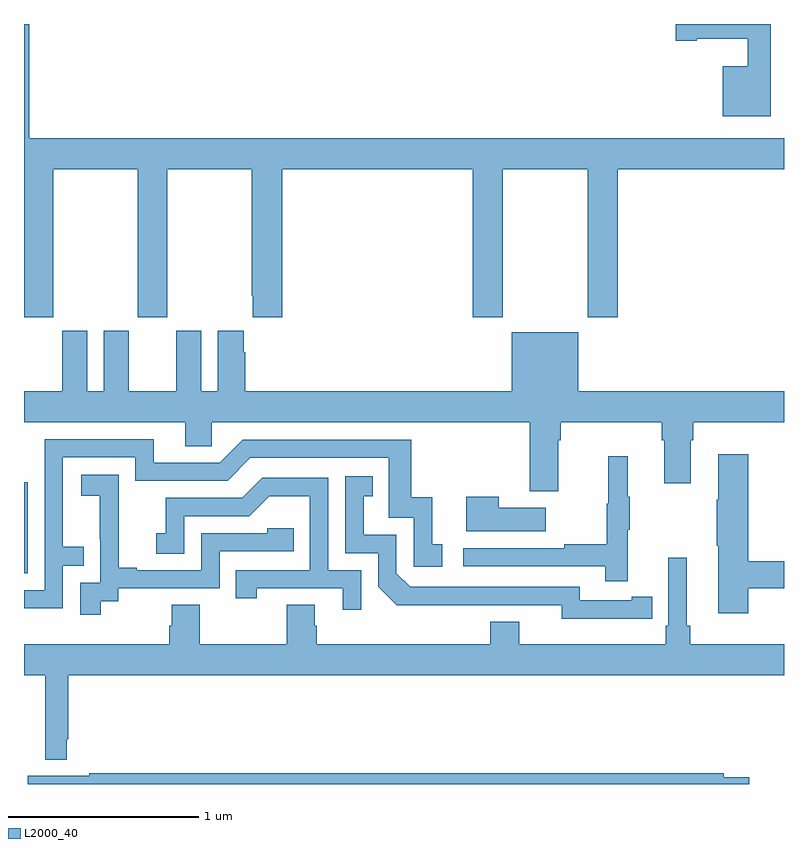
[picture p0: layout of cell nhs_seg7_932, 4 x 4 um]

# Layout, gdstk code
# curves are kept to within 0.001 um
import gdstk
lib = gdstk.Library(unit=1e-6, precision=1e-09)
def R(c, l, rs):  # rectangles x0, y0, x1, y1
    for r in rs: c.add(gdstk.rectangle(r[:2], r[2:], *l))
def P(c, l, *ps):  # polygons
    for p in ps: c.add(gdstk.Polygon(p, *l))
L2000_40 = (2000, 40)

nhs_seg7_932 = lib.new_cell('nhs_seg7_932')
R(nhs_seg7_932, L2000_40, [(179,1045.11,179.019,1045.587)])
P(nhs_seg7_932, L2000_40, [(182.929,1048),(182.43,1048),(182.43,1047.911),(182.542,1047.911),(182.542,1047.923),(182.808,1047.923),(182.808,1047.778),(182.678,1047.778),(182.678,1047.515),(182.929,1047.515)],
  [(179.154,1047.236),(179.599,1047.236),(179.599,1046.457),(179.754,1046.457),(179.754,1047.236),(180.199,1047.236),(180.199,1046.569),(180.203,1046.569),(180.203,1046.457),(180.359,1046.457),(180.359,1047.236),(181.361,1047.236),(181.361,1046.457),(181.521,1046.457),(181.521,1047.236),(181.966,1047.236),(181.966,1046.457),(182.126,1046.457),(182.126,1047.236),(183,1047.236),(183,1047.4),(179.027,1047.4),(179.027,1048),(179,1048),(179,1046.457),(179.154,1046.457)],
  [(180.157,1046.273),(180.157,1046.386),(180.02,1046.386),(180.02,1046.068),(179.932,1046.068),(179.932,1046.386),(179.801,1046.386),(179.801,1046.068),(179.551,1046.068),(179.551,1046.386),(179.42,1046.386),(179.42,1046.068),(179.332,1046.068),(179.332,1046.386),(179.201,1046.386),(179.201,1046.068),(179,1046.068),(179,1045.904),(179.849,1045.904),(179.849,1045.777),(179.988,1045.777),(179.988,1045.904),(181.661,1045.904),(181.661,1045.542),(181.813,1045.542),(181.813,1045.808),(181.826,1045.808),(181.826,1045.904),(182.357,1045.904),(182.357,1045.808),(182.369,1045.808),(182.369,1045.584),(182.509,1045.584),(182.509,1045.808),(182.522,1045.808),(182.522,1045.904),(183,1045.904),(183,1046.068),(181.918,1046.068),(181.918,1046.377),(181.568,1046.377),(181.568,1046.068),(180.164,1046.068),(180.164,1046.273)],
  [(179.205,1045.149),(179.315,1045.149),(179.315,1045.25),(179.205,1045.25),(179.205,1045.719),(179.586,1045.719),(179.586,1045.596),(180.072,1045.596),(180.192,1045.716),(180.921,1045.716),(180.921,1045.401),(181.05,1045.401),(181.05,1045.143),(181.201,1045.143),(181.201,1045.263),(181.148,1045.263),(181.148,1045.51),(181.037,1045.51),(181.037,1045.812),(180.15,1045.812),(180.03,1045.692),(179.683,1045.692),(179.683,1045.815),(179.109,1045.815),(179.109,1045.02),(179,1045.02),(179,1044.924),(179.205,1044.924)],
  [(182.813,1045.03),(183,1045.03),(183,1045.172),(182.813,1045.172),(182.813,1045.735),(182.654,1045.735),(182.654,1045.496),(182.647,1045.496),(182.647,1045.255),(182.654,1045.255),(182.654,1044.9),(182.813,1044.9)],
  [(182.177,1045.339),(182.188,1045.339),(182.188,1045.513),(182.177,1045.513),(182.177,1045.726),(182.074,1045.726),(182.074,1045.476),(182.067,1045.476),(182.067,1045.262),(181.843,1045.262),(181.843,1045.242),(181.311,1045.242),(181.311,1045.146),(182.059,1045.146),(182.059,1045.068),(182.177,1045.068)],
  [(179.404,1044.961),(179.496,1044.961),(179.496,1045.029),(180.03,1045.029),(180.03,1045.224),(180.419,1045.224),(180.419,1045.347),(180.279,1045.347),(180.279,1045.32),(179.934,1045.32),(179.934,1045.125),(179.593,1045.125),(179.593,1045.138),(179.498,1045.138),(179.498,1045.421),(179.499,1045.421),(179.499,1045.627),(179.301,1045.627),(179.301,1045.517),(179.399,1045.517),(179.399,1045.289),(179.4,1045.289),(179.4,1045.059),(179.295,1045.059),(179.295,1044.891),(179.404,1044.891)],
  [(182.198,1044.87),(182.306,1044.87),(182.306,1044.986),(182.198,1044.986),(182.198,1044.966),(181.926,1044.966),(181.926,1045.038),(181.032,1045.038),(180.96,1045.11),(180.96,1045.311),(180.787,1045.311),(180.787,1045.515),(180.836,1045.515),(180.836,1045.621),(180.69,1045.621),(180.69,1045.215),(180.864,1045.215),(180.864,1045.038),(180.962,1044.941),(181.83,1044.942),(181.83,1044.869)],
  [(180.774,1045.125),(180.6,1045.125),(180.6,1045.611),(180.254,1045.611),(180.149,1045.506),(179.746,1045.506),(179.746,1045.321),(179.697,1045.321),(179.697,1045.212),(179.844,1045.212),(179.844,1045.41),(180.186,1045.41),(180.29,1045.514),(180.504,1045.514),(180.504,1045.125),(180.115,1045.125),(180.115,1044.978),(180.226,1044.978),(180.226,1045.029),(180.677,1045.029),(180.677,1044.918),(180.774,1044.918)],
  [(181.747,1045.453),(181.499,1045.453),(181.499,1045.513),(181.328,1045.513),(181.328,1045.331),(181.747,1045.331)],
  [(179.226,1044.235),(179.233,1044.235),(179.233,1044.572),(183,1044.572),(183,1044.736),(182.507,1044.736),(182.507,1044.832),(182.488,1044.832),(182.488,1045.192),(182.391,1045.192),(182.391,1044.832),(182.378,1044.832),(182.378,1044.736),(181.606,1044.736),(181.606,1044.853),(181.454,1044.853),(181.454,1044.736),(180.542,1044.736),(180.542,1044.834),(180.529,1044.834),(180.529,1044.944),(180.382,1044.944),(180.382,1044.736),(179.925,1044.736),(179.925,1044.944),(179.777,1044.944),(179.777,1044.834),(179.765,1044.834),(179.765,1044.736),(179,1044.736),(179,1044.572),(179.111,1044.572),(179.111,1044.128),(179.226,1044.128)],
  [(182.818,1044.036),(182.684,1044.036),(182.684,1044.056),(179.344,1044.056),(179.344,1044.043),(179.021,1044.043),(179.021,1044),(182.818,1044)])

lib.write_gds('nhs_seg7_932.gds')
